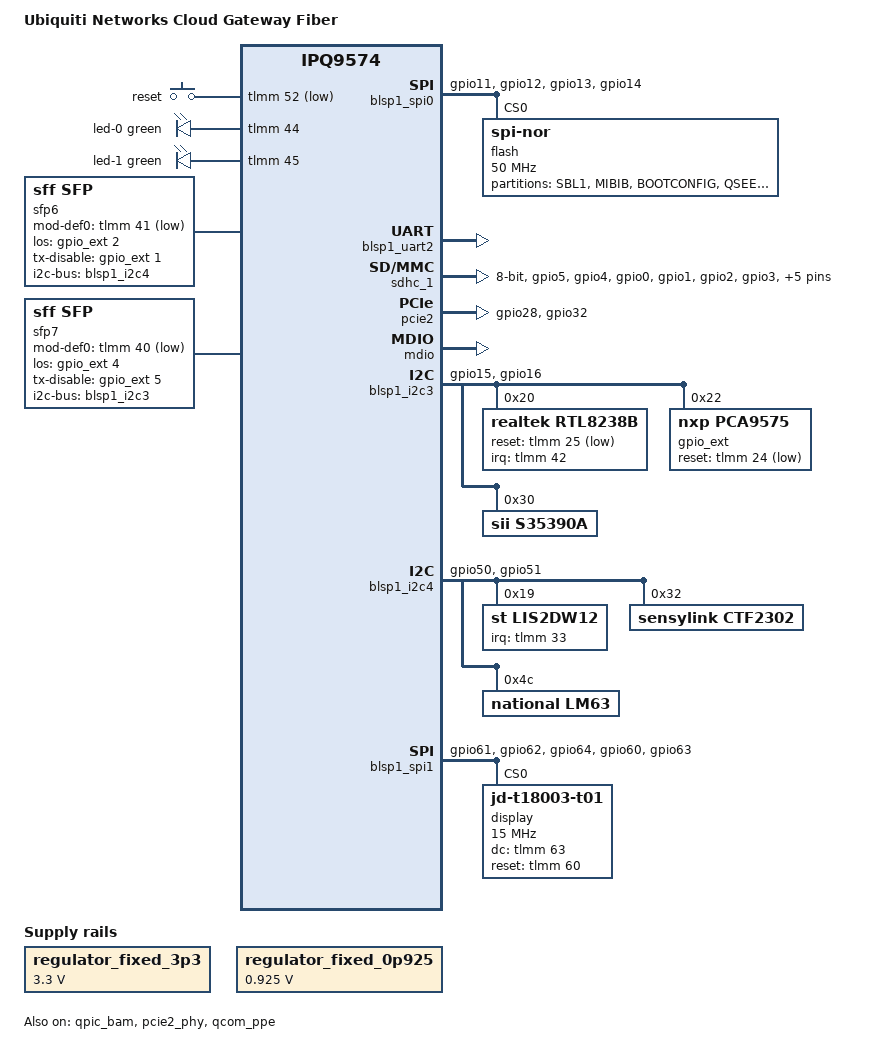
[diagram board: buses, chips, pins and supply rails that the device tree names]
// SPDX-License-Identifier: (GPL-2.0+ OR BSD-3-Clause)
/* UniFi Fiber Gateway
 *
 * Copyright (c) 2020-2021 The Linux Foundation. All rights reserved.
 * Copyright (c) 2022-2023 Qualcomm Innovation Center, Inc. All rights reserved.
 */

/dts-v1/;

#include <dt-bindings/gpio/gpio.h>
#include <dt-bindings/input/input.h>
#include <dt-bindings/leds/common.h>
#include "ipq9574.dtsi"

/ {
	model = "Ubiquiti Networks Cloud Gateway Fiber";
	compatible = "ubnt,ucgfiber", "qcom,ipq9574-ap-al02-c18", "qcom,ipq9574-al02", "qcom,ipq9574";

	aliases {
		serial0 = &blsp1_uart2;
	};

	chosen {
		stdout-path = "serial0:115200n8";
	};

	regulator_fixed_3p3: s3300 {
		compatible = "regulator-fixed";
		regulator-min-microvolt = <3300000>;
		regulator-max-microvolt = <3300000>;
		regulator-boot-on;
		regulator-always-on;
		regulator-name = "fixed_3p3";
	};

	regulator_fixed_0p925: s0925 {
		compatible = "regulator-fixed";
		regulator-min-microvolt = <925000>;
		regulator-max-microvolt = <925000>;
		regulator-boot-on;
		regulator-always-on;
		regulator-name = "fixed_0p925";
	};

	gpio-keys {
		compatible = "gpio-keys";
		pinctrl-0 = <&gpio_keys_default>;
		pinctrl-names = "default";

		button-reset {
			label = "reset";
			linux,code = <KEY_RESTART>;
			gpios = <&tlmm 52 GPIO_ACTIVE_LOW>;
			debounce-interval = <60>;
		};
	};

	leds {
		compatible = "gpio-leds";
		pinctrl-0 = <&gpio_leds_default>;
		pinctrl-names = "default";

		led-0 {
			color = <LED_COLOR_ID_GREEN>;
			function = "sfp";
			function-enumerator = <7>;
			gpios = <&tlmm 44 GPIO_ACTIVE_HIGH>;
		};

		led-1 {
			color = <LED_COLOR_ID_GREEN>;
			function = "sfp";
			function-enumerator = <6>;
			gpios = <&tlmm 45 GPIO_ACTIVE_HIGH>;
		};
	};

	sfp6: sfp6 {
		/* WAN port 7, connected to PPE port 6 */
		compatible = "sff,sfp";
		i2c-bus = <&blsp1_i2c4>;
		mod-def0-gpios = <&tlmm 41 GPIO_ACTIVE_LOW>;
		los-gpios = <&gpio_ext 2 GPIO_ACTIVE_HIGH>;
		tx-disable-gpios = <&gpio_ext 1 GPIO_ACTIVE_HIGH>;
		maximum-power-milliwatt = <3000>;
	};

	sfp7: sfp7 {
		/* WAN port 6, connected to PPE port 5 */
		compatible = "sff,sfp";
		i2c-bus = <&blsp1_i2c3>;
		mod-def0-gpios = <&tlmm 40 GPIO_ACTIVE_LOW>;
		los-gpios = <&gpio_ext 4 GPIO_ACTIVE_HIGH>;
		tx-disable-gpios = <&gpio_ext 5 GPIO_ACTIVE_HIGH>;
		maximum-power-milliwatt = <3000>;
	};
};

&blsp1_spi0 {
	pinctrl-0 = <&spi_0_pins>;
	pinctrl-names = "default";
	status = "okay";

	flash@0 {
		compatible = "jedec,spi-nor";
		reg = <0>;
		#address-cells = <1>;
		#size-cells = <1>;
		spi-max-frequency = <50000000>;

		partitions {
			compatible = "fixed-partitions";
			#address-cells = <1>;
			#size-cells = <1>;

			partition@0 {
				reg = <0x00 0xc0000>;
				label = "SBL1";
			};

			partition@c0000 {
				reg = <0xc0000 0x10000>;
				label = "MIBIB";
			};

			partition@d0000 {
				reg = <0xd0000 0x20000>;
				label = "BOOTCONFIG";
			};

			partition@f0000 {
				reg = <0xf0000 0x180000>;
				label = "QSEE";
			};

			partition@270000 {
				reg = <0x270000 0x10000>;
				label = "DEVCFG";
			};

			partition@280000 {
				reg = <0x280000 0x10000>;
				label = "APDP";
			};

			partition@290000 {
				reg = <0x290000 0x40000>;
				label = "TME";
			};

			partition@2d0000 {
				reg = <0x2d0000 0x20000>;
				label = "RPM";
			};

			partition@2f0000 {
				reg = <0x2f0000 0x10000>;
				label = "CDT";
			};

			partition@300000 {
				reg = <0x300000 0x10000>;
				label = "u-boot-env";
			};

			partition@310000 {
				reg = <0x310000 0xc0000>;
				label = "u-boot";
			};

			partition@3d0000 {
				reg = <0x3d0000 0x100000>;
				label = "ART";
			};

			partition@4d0000 {
				reg = <0x4d0000 0x10000>;
				label = "EEPROM";
				read-only;
			};

			partition@4e0000 {
				reg = <0x4e0000 0x10000>;
				label = "Factory";
				read-only;
			};

			partition@4f0000 {
				reg = <0x4f0000 0x100000>;
				label = "config";
			};
		};
	};
};

&blsp1_uart2 {
	pinctrl-0 = <&uart2_pins>;
	pinctrl-names = "default";
	status = "okay";
};

&rpm_requests {
	regulators {
		compatible = "qcom,rpm-mp5496-regulators";

		ipq9574_s1: s1 {
		/*
		 * During kernel bootup, the SoC runs at 800MHz with 875mV set by the bootloaders.
		 * During regulator registration, kernel not knowing the initial voltage,
		 * considers it as zero and brings up the regulators with minimum supported voltage.
		 * Update the regulator-min-microvolt with SVS voltage of 725mV so that
		 * the regulators are brought up with 725mV which is sufficient for all the
		 * corner parts to operate at 800MHz
		 */
			regulator-min-microvolt = <725000>;
			regulator-max-microvolt = <1075000>;
		};

		mp5496_l2: l2 {
			regulator-min-microvolt = <1800000>;
			regulator-max-microvolt = <1800000>;
			regulator-always-on;
			regulator-boot-on;
		};

		mp5496_l5: l5 {
			regulator-min-microvolt = <1800000>;
			regulator-max-microvolt = <1800000>;
			regulator-always-on;
			regulator-boot-on;
		};
	};
};

&sleep_clk {
	clock-frequency = <32000>;
};

&tlmm {
	spi_0_pins: spi-0-state {
		pins = "gpio11", "gpio12", "gpio13", "gpio14";
		function = "blsp0_spi";
		drive-strength = <8>;
		bias-disable;
	};

	gpio_keys_default: gpio-keys-default-state {
		pins = "gpio52";
		function = "gpio";
		drive-strength = <8>;
		bias-pull-up;
	};

	gpio_leds_default: gpio-leds-default-state {
		pins = "gpio44", "gpio45";
		function = "gpio";
		drive-strength = <8>;
		output-low;
		bias-pull-up;
	};

	pcie2_default: pcie2-default-state {
		perst-n-pins {
			pins = "gpio28";
			function = "gpio";
			drive-strength = <8>;
			bias-pull-down;
			output-low;
		};

		wake-n-pins {
			pins = "gpio32";
			function = "pcie2_wake";
			drive-strength = <6>;
			bias-pull-up;
		};
	};

	i2c3_pins: i2c3-pins {
		pins = "gpio15", "gpio16";
		function = "blsp3_i2c";
		drive-strength = <8>;
		bias-disable;
	};

	i2c4_pins: i2c4-pins {
		pins = "gpio50", "gpio51";
		function = "blsp4_i2c";
		drive-strength = <8>;
		bias-disable;
	};

	spi1_pins: spi1-pins {
		mux_0 {
			pins = "gpio61", "gpio62", "gpio64";
			function = "blsp1_spi";
			drive-strength = <8>;
			bias-disable;
		};

		mux_1 {
			pins = "gpio60", "gpio63";
			function = "gpio";
			drive-strength = <8>;
			bias-disable;
		};
	};

	sdc_default_state: sdc-default-state {
		clk-pins {
			pins = "gpio5";
			function = "sdc_clk";
			drive-strength = <8>;
			bias-disable;
		};

		cmd-pins {
			pins = "gpio4";
			function = "sdc_cmd";
			drive-strength = <8>;
			bias-pull-up;
		};

		data-pins {
			pins = "gpio0", "gpio1", "gpio2",
			       "gpio3", "gpio6", "gpio7",
			       "gpio8", "gpio9";
			function = "sdc_data";
			drive-strength = <8>;
			bias-pull-up;
		};

		rclk-pins {
			pins = "gpio10";
			function = "sdc_rclk";
			drive-strength = <8>;
			bias-pull-down;
		};
	};
};

&qpic_bam {
	status = "okay";
};

&ref_48mhz_clk {
	clock-div = <1>;
	clock-mult = <1>;
};

&xo_board_clk {
	clock-div = <2>;
	clock-mult = <1>;
};

&xo_clk {
	clock-frequency = <48000000>;
};

&sdhc_1 {
	pinctrl-0 = <&sdc_default_state>;
	pinctrl-names = "default";
	mmc-ddr-1_8v;
	mmc-hs200-1_8v;
	mmc-hs400-1_8v;
	mmc-hs400-enhanced-strobe;
	max-frequency = <384000000>;
	bus-width = <8>;
	status = "okay";
};

&pcie2_phy {
	status = "okay";
};

&pcie2 {
	pinctrl-0 = <&pcie2_default>;
	pinctrl-names = "default";

	perst-gpios = <&tlmm 28 GPIO_ACTIVE_LOW>;
	status = "okay";
};

&mdio {
	status = "okay";
};

&qcom_ppe {
	status = "okay";

	ethernet-ports {
		#address-cells = <1>;
		#size-cells = <0>;

		ppe_port1: port@1 {
			reg = <1>;
			phy-mode = "usxgmii";
			pcs-handle = <&pcs0_ch0>;
			clocks = <&nsscc NSS_CC_PORT1_MAC_CLK>,
				 <&nsscc NSS_CC_PORT1_RX_CLK>,
				 <&nsscc NSS_CC_PORT1_TX_CLK>;
			clock-names = "port_mac",
				      "port_rx",
				      "port_tx";
			resets = <&nsscc PORT1_MAC_ARES>,
				 <&nsscc PORT1_RX_ARES>,
				 <&nsscc PORT1_TX_ARES>;
			reset-names = "port_mac",
				      "port_rx",
				      "port_tx";

			/* RTL8273 switch CPU port */
			/* RTL8261N 10G PHY connected via switch? */
			fixed-link {
				speed = <10000>;
				full-duplex;
				pause;
			};
		};

		ppe_port5: port@5 {
			reg = <5>;
			phy-mode = "usxgmii";
			managed = "in-band-status";
			pcs-handle = <&pcs1_ch0>;
			sfp = <&sfp7>;
			clocks = <&nsscc NSS_CC_PORT5_MAC_CLK>,
				 <&nsscc NSS_CC_PORT5_RX_CLK>,
				 <&nsscc NSS_CC_PORT5_TX_CLK>;
			clock-names = "port_mac",
				      "port_rx",
				      "port_tx";
			resets = <&nsscc PORT5_MAC_ARES>,
				 <&nsscc PORT5_RX_ARES>,
				 <&nsscc PORT5_TX_ARES>;
			reset-names = "port_mac",
				      "port_rx",
				      "port_tx";
		};

		ppe_port6: port@6 {
			reg = <6>;
			phy-mode = "usxgmii";
			managed = "in-band-status";
			pcs-handle = <&pcs2_ch0>;
			sfp = <&sfp6>;
			clocks = <&nsscc NSS_CC_PORT6_MAC_CLK>,
				 <&nsscc NSS_CC_PORT6_RX_CLK>,
				 <&nsscc NSS_CC_PORT6_TX_CLK>;
			clock-names = "port_mac",
				      "port_rx",
				      "port_tx";
			resets = <&nsscc PORT6_MAC_ARES>,
				 <&nsscc PORT6_RX_ARES>,
				 <&nsscc PORT6_TX_ARES>;
			reset-names = "port_mac",
				      "port_rx",
				      "port_tx";
		};
	};
};

&blsp1_i2c3 {
	pinctrl-0 = <&i2c3_pins>;
	pinctrl-names = "default";
	status = "okay";

	rtl8238b@20 {
		compatible = "realtek,rtl8238b";
		reg = <0x20>;
		power-budget-mw = <51000>;
		reset = <&tlmm 25 GPIO_ACTIVE_LOW>;
		interrupts-extended = <&tlmm 42 IRQ_TYPE_EDGE_RISING>;

		port@3 {
			mode = "at";
			led = <&gpio_ext 11 GPIO_ACTIVE_HIGH>;
			indexes = <3 3>;
		};
	};

	gpio_ext: pca9575@22 {
		compatible = "nxp,pca9575";
		reg = <0x22>;
		gpio-controller;
		pupd-val = [ff 00];
		#gpio-cells = <0x02>;
		reset_gpios = <&tlmm 24 GPIO_ACTIVE_LOW>;
	};

	s35390a@30 {
		compatible = "sii,s35390a";
		reg = <0x30>;
	};
};

&blsp1_i2c4 {
	pinctrl-0 = <&i2c4_pins>;
	pinctrl-names = "default";
	status = "okay";

	lis2dw12@19 {
		compatible = "st,lis2dw12";
		reg = <0x19>;
		interrupts-extended = <&tlmm 33 IRQ_TYPE_EDGE_FALLING>;
	};

	ctf2302@32 {
		compatible = "sensylink,ctf2302";
		reg = <0x32>;
		ch-dis = <0x2000>;
	};

	lm63@4c {
		compatible = "national,lm63";
		reg = <0x4c>;
		tachometer-en;
	};
};

&blsp1_spi1 {
	status = "ok";
	pinctrl-0 = <&spi1_pins>;
	pinctrl-names = "default";

	display@0 {
//		compatible = "st7735fb";
		compatible = "jd-t18003-t01";
		reg = <0>;
		spi-max-frequency = <15000000>;
		dc-gpios = <&tlmm 63 GPIO_ACTIVE_HIGH>;
		reset-gpios = <&tlmm 60 GPIO_ACTIVE_HIGH>;
		status = "ok";
	};
};
